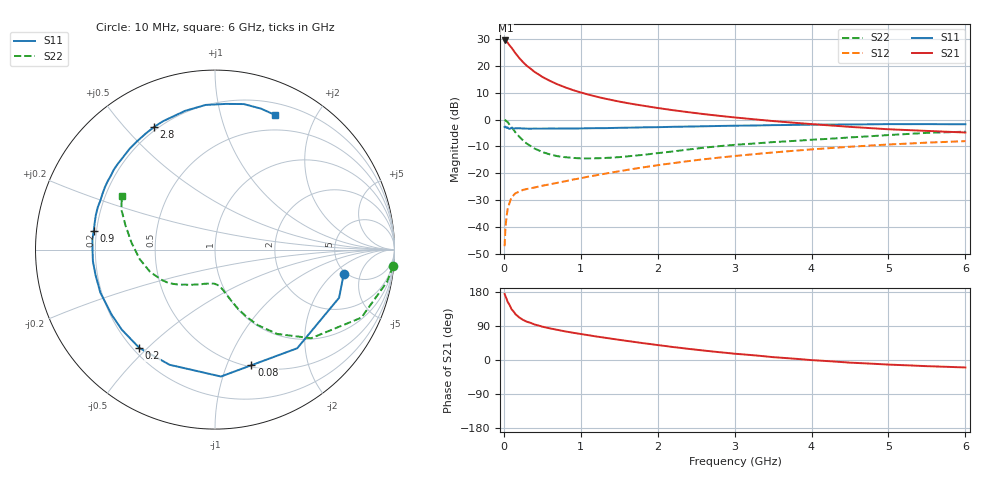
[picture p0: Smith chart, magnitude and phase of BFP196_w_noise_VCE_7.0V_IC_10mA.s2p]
! Infineon Technologies  Discrete & RF Semiconductors
! BFP196
! VCE =  7.0 V,  IC =  10 mA
! Common Emitter S-Parameters:  Jan 2017
# GHz  S  MA  R  50
!  f  S11  S21  S12  S22
! GHz  MAG  ANG  MAG  ANG  MAG  ANG  MAG  ANG
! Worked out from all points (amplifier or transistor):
!   77 points, 10 MHz to 6 GHz, reference 50 ohm
!   highest |S21| = 29.5 dB at 20 MHz (marker M1)
!   |S21| within 3 dB of that: start of sweep to 107.7 MHz
!   unconditionally stable (mu >= 1): 979.6 MHz to 2.363 GHz
!   at 130 MHz: K = 0.23, MSG = 26.8 dB, |S12| = -28.0 dB
!   at 2.2 GHz: K = 1.02, MAG = 9.0 dB, |S12| = -16.2 dB
!   at 6 GHz: K = 0.91, MSG = 1.6 dB, |S12| = -8.0 dB
!   lowest NFmin = 0.99 dB at 450 MHz
!   S11 on the Smith chart (normalised r, x): 10 MHz: 4.73, -2.77; 80 MHz: 0.52, -1.23; 200 MHz: 0.22, -0.47; 900 MHz: 0.19, +0.08; 2.8 GHz: 0.18, +0.60; 6 GHz: 0.33, +1.50
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0.01  0.7298 -10.8  29.72 174.3  0.0044 84.0  0.9957 -5.3
0.02  0.7417 -21.2  29.86 168.9  0.0091 85.2  0.9752 -10.6
0.05  0.7155 -50.2  27.11 153.4  0.0217 67.3  0.8995 -24.9
0.08  0.6754 -72.5  23.65 142.8  0.0298 57.0  0.7873 -34.7
0.1  0.7079 -87.3  21.91 134.0  0.0356 52.9  0.7284 -42.7
0.15  0.6898 -111.5  17.33 121.1  0.0424 44.0  0.5824 -53.7
0.2  0.6913 -127.6  14.09 112.3  0.0457 40.5  0.482 -60.6
0.25  0.6846 -139.4  11.76 105.7  0.0492 37.5  0.4094 -65.1
0.3  0.6806 -147.7  10.02 101.0  0.0511 36.6  0.3563 -68.6
0.4  0.6822 -159.5  7.738 93.6  0.0545 37.5  0.2888 -73.1
0.5  0.6807 -168.1  6.261 88.0  0.0588 38.8  0.2498 -76.4
0.6  0.6832 -174.6  5.269 83.4  0.0626 40.3  0.2248 -79.4
0.7  0.6824 -179.7  4.534 79.4  0.0669 42.3  0.2086 -82.1
0.9  0.6837 171.1  3.545 71.9  0.0766 45.7  0.1939 -88.0
1.1  0.6915 163.6  2.929 65.4  0.087 48.4  0.1901 -94.1
1.5  0.7049 150.6  2.171 53.3  0.1094 51.0  0.2004 -107.9
2.1  0.7296 133.0  1.573 36.9  0.1483 50.3  0.2465 -127.4
2.8  0.763 116.4  1.179 20.6  0.1965 45.8  0.321 -145.0
3.1  0.7736 110.1  1.066 15.0  0.2171 43.0  0.3469 -152.2
4.1  0.8077 92.1  0.807 -1.5  0.2858 32.7  0.4296 -175.2
5.1  0.8255 77.4  0.653 -12.9  0.3499 20.6  0.5263 163.1
6  0.8212 65.8  0.576 -19.7  0.3982 9.7  0.5974 150.3
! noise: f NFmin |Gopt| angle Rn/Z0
0.45  0.99  0.35  147  0.06
0.9  1.29  0.5  174  0.05
1.9  2.4  0.7  -139  0.25
2.4  2.9  0.73  -123  0.68
